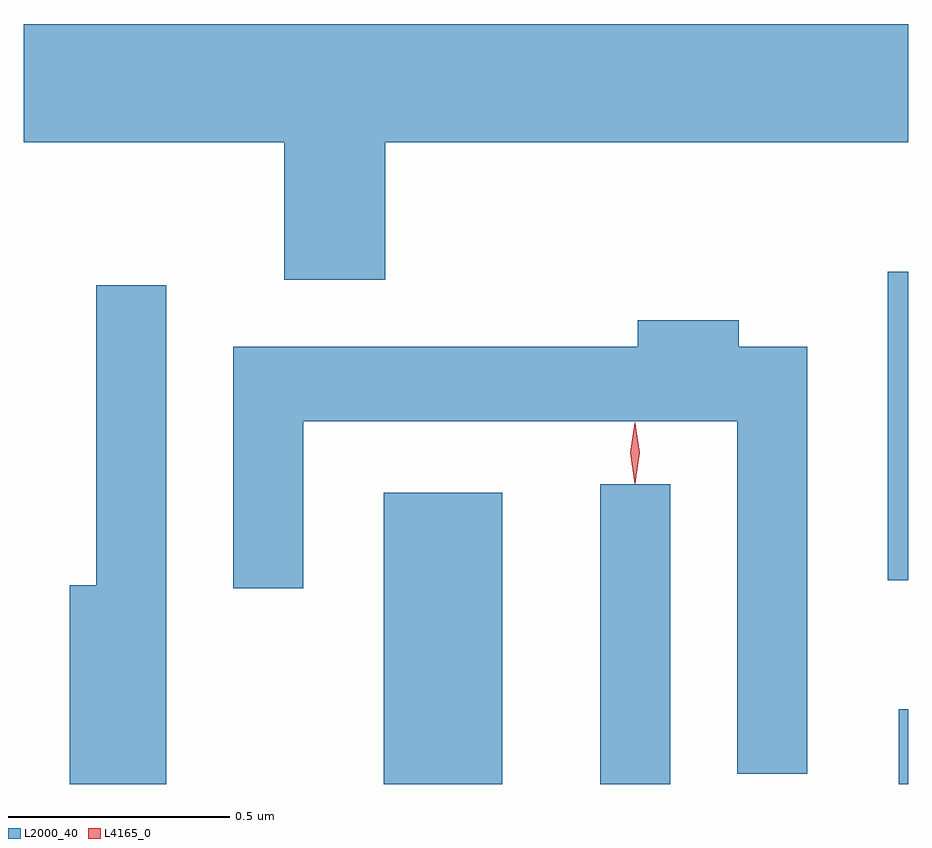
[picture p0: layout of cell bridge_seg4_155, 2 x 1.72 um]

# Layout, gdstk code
import gdstk
lib = gdstk.Library(unit=1e-6, precision=1e-09)
def R(c, l, rs):  # rectangles x0, y0, x1, y1
    for r in rs: c.add(gdstk.rectangle(r[:2], r[2:], *l))
def P(c, l, *ps):  # polygons
    for p in ps: c.add(gdstk.Polygon(p, *l))
L2000_40 = (2000, 40)
L4165_0 = (4165, 0)

bridge_seg4_155 = lib.new_cell('bridge_seg4_155')
R(bridge_seg4_155, L2000_40, [(936.396,1315.485,936.664,1316.144), (936.886,1315.485,937.044,1316.163), (937.561,1315.485,937.582,1315.654), (937.536,1315.946,937.582,1316.644)])
P(bridge_seg4_155, L2000_40, [(936.399,1316.936),(937.582,1316.936),(937.582,1317.204),(935.582,1317.204),(935.582,1316.936),(936.171,1316.936),(936.171,1316.626),(936.399,1316.626)],
  [(935.904,1316.613),(935.746,1316.613),(935.746,1315.934),(935.686,1315.934),(935.686,1315.485),(935.904,1315.485)],
  [(937.354,1316.474),(937.199,1316.474),(937.199,1316.534),(936.971,1316.534),(936.971,1316.474),(936.056,1316.474),(936.056,1315.928),(936.214,1315.928),(936.214,1316.306),(937.196,1316.306),(937.196,1315.508),(937.354,1315.508)])
P(bridge_seg4_155, L4165_0, [(936.964,1316.164),(936.964,1316.164),(936.954,1316.234),(936.964,1316.302),(936.964,1316.303),(936.965,1316.302),(936.974,1316.234),(936.965,1316.164)],
  [(936.964,1316.167),(936.955,1316.234),(936.964,1316.3),(936.965,1316.3),(936.965,1316.3),(936.975,1316.234),(936.965,1316.167),(936.965,1316.167)])

lib.write_gds('bridge_seg4_155.gds')
